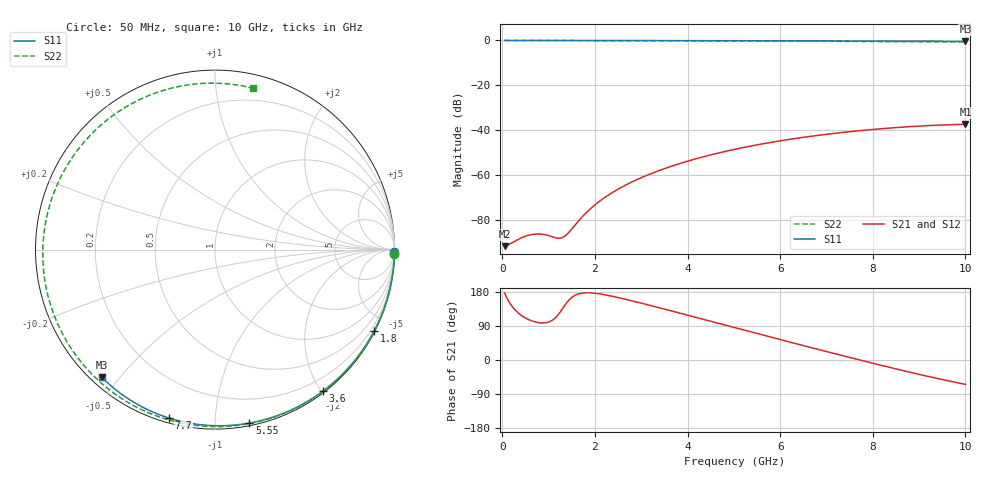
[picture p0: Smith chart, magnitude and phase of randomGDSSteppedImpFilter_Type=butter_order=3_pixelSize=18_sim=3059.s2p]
! freq	dB(S11)	phase(S11)	dB(S12)	phase(S12)
!  dB(S21)	phase(S21)	dB(S22)	phase(S22)
!S-par simulation data
#  GHz  S  DB  R 50
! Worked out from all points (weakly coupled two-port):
!   200 points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, 50 MHz to 10 GHz, reference 50 ohm
!   highest |S21| = -37.44 dB at 10 GHz (marker M1); lowest = -91.9 dB at 50 MHz (marker M2)
!   lowest |S11| = -0.4 dB at 10 GHz (marker M3), VSWR 39.24, Z = 1.53 - j22.4 ohm
!   |S11| at or under -10 dB: nowhere
!   |S22| runs from -0.7 to 0.0 dB; largest |S21 - S12| = 0
!   S11 on the Smith chart (normalised r, x): 50 MHz: open; 1.8 GHz: 0.04, -4.17; 3.6 GHz: 0.02, -2.02; 5.55 GHz: 0.02, -1.22; 7.7 GHz: 0.02, -0.76; 10 GHz: 0.03, -0.45
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0.05  -0.00 -0.8  -91.87 177.1  -91.87 177.1  -0.00 -1.4
0.8  -0.01 -12.1  -86.43 98.3  -86.43 98.3  -0.02 -21.8
1.65  -0.03 -24.8  -80.49 174.5  -80.49 174.5  -0.06 -44.5
1.75  -0.03 -26.2  -78.23 176.8  -78.23 176.8  -0.06 -47.2
1.8  -0.03 -27.0  -77.18 177.2  -77.18 177.2  -0.06 -48.5
2.1  -0.04 -31.4  -71.81 174.5  -71.81 174.5  -0.07 -56.3
2.45  -0.05 -36.4  -67.01 166.2  -67.01 166.2  -0.08 -65.3
2.9  -0.06 -42.9  -62.21 153.1  -62.21 153.1  -0.10 -76.8
3.4  -0.07 -50.0  -57.99 137.5  -57.99 137.5  -0.12 -89.4
3.6  -0.07 -52.7  -56.53 131.2  -56.53 131.2  -0.13 -94.4
4.3  -0.09 -62.3  -52.18 108.7  -52.18 108.7  -0.16 -111.7
5.05  -0.11 -72.3  -48.48 84.5  -48.48 84.5  -0.20 -130.2
5.55  -0.13 -78.8  -46.43 68.4  -46.43 68.4  -0.24 -142.7
6.15  -0.15 -86.4  -44.33 49.2  -44.33 49.2  -0.28 -158.1
6.7  -0.18 -93.2  -42.70 31.8  -42.70 31.8  -0.33 -172.8
7.2  -0.21 -99.2  -41.42 16.1  -41.42 16.1  -0.38 173.1
7.7  -0.24 -105.2  -40.32 0.6  -40.32 0.6  -0.44 158.3
8.35  -0.29 -112.8  -39.14 -19.0  -39.14 -19.0  -0.51 137.5
8.85  -0.33 -118.6  -38.43 -33.6  -38.43 -33.6  -0.57 120.3
9.25  -0.37 -123.1  -37.98 -44.8  -37.98 -44.8  -0.61 105.7
9.65  -0.41 -127.7  -37.64 -55.5  -37.64 -55.5  -0.66 90.5
10  -0.44 -131.7  -37.44 -64.4  -37.44 -64.4  -0.69 76.8
